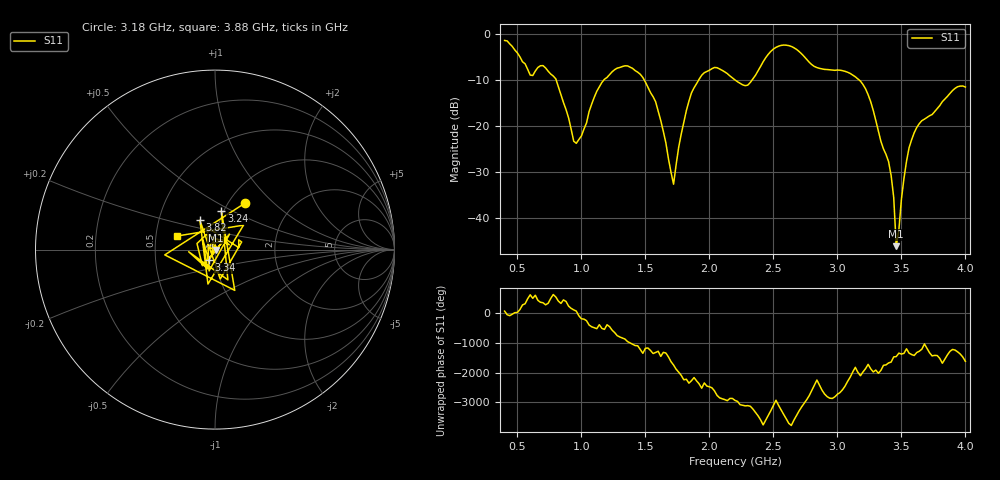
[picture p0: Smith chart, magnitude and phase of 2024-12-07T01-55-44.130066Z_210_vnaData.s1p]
!Created with skrf (http://scikit-rf.org).
# Hz S RI R 50.0
!freq ReS11 ImS11
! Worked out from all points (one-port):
!   181 points, 400 MHz to 4 GHz, reference 50 ohm
!   lowest |S11| = -46.1 dB at 3.46 GHz (marker M1), VSWR 1.01, Z = 50.5 - j0.156 ohm
!   |S11| at or under -10 dB: 802.4 MHz to 1.176 GHz (374 MHz wide, 37.8 % of centre); 1.49 GHz to 1.917 GHz (426.8 MHz wide, 25 % of centre); 3.168 GHz to end of sweep (the widest 3 of 4)
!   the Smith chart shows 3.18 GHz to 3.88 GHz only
!   S11 on the Smith chart (normalised r, x): 3.18 GHz: 1.19, +0.68; 3.24 GHz: 0.97, +0.44; 3.34 GHz: 0.93, -0.11; 3.82 GHz: 0.80, +0.27; 3.88 GHz: 0.64, +0.10
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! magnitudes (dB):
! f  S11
! 400 MHz  -1.4
! 600 MHz  -9.0
! 720 MHz  -7.4
! 860 MHz  -14.9
! 960 MHz  -23.8
! 1.14 GHz  -11.5
! 1.3 GHz  -7.3
! 1.46 GHz  -8.8
! 1.58 GHz  -14.8
! 1.72 GHz  -32.7
! 1.76 GHz  -24.6
! 1.86 GHz  -12.8
! 1.94 GHz  -9.0
! 2.2 GHz  -10.0
! 2.3 GHz  -11.1
! 2.5 GHz  -3.3
! 2.66 GHz  -3.0
! 3.1 GHz  -8.6
! 3.18 GHz  -10.3
! 3.24 GHz  -13.2
! 3.34 GHz  -23.4
! 3.42 GHz  -30.8
! 3.44 GHz  -35.6
! 3.46 GHz  -46.1
! 3.56 GHz  -24.7
! 3.82 GHz  -14.7
! 3.88 GHz  -12.9
! 4 GHz  -11.6
